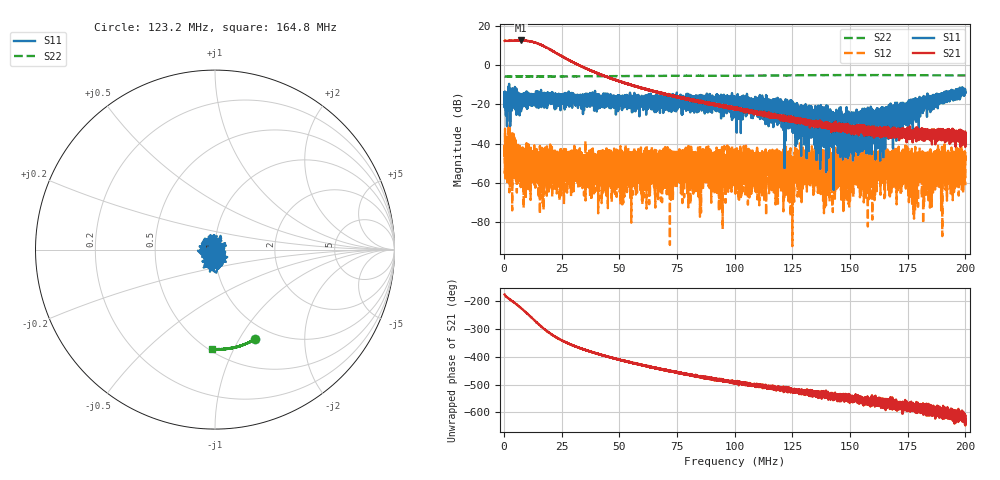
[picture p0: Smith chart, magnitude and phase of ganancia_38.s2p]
# Hz S DB R 50
! CMT, M5065, 19127446, 24.2.4/2
! Date: 11/8/2024 4:07:27 PM
! Data: Format (Calibration Info)
! Freq	S11:dB/Ang(F2)	S21:dB/Ang(F2)	S12:dB/Ang(F2)	S22:dB/Ang(F2)
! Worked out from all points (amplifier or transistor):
!   9000 points, 300 kHz to 200 MHz, reference 50 ohm
!   highest |S21| = 12.5 dB at 7.202 MHz (marker M1)
!   |S21| within 3 dB of that: start of sweep to 17.4 MHz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
!   unconditionally stable (mu >= 1): start of sweep to end of sweep
!   at 33.59 MHz: K = 66.58, MAG = 0.7 dB, |S12| = -44.6 dB
!   at 100.2 MHz: K = 5252.24, MAG = -20.4 dB, |S12| = -61.6 dB
!   at 200 MHz: K = 22067.28, MAG = -33.4 dB, |S12| = -61.2 dB
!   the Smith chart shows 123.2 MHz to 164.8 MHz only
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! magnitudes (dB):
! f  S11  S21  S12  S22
! 300 kHz  -13.9  12.3  -45.7  -5.8
! 7.202 MHz  -19.2  12.5  -54.2  -5.8
! 16.52 MHz  -17.7  10.0  -51.7  -5.8
! 33.59 MHz  -19.4  -0.7  -44.6  -5.7
! 60.02 MHz  -18.9  -11.6  -50.9  -5.6
! 66.87 MHz  -20.1  -13.8  -50.8  -5.5
! 100.2 MHz  -20.1  -21.9  -61.6  -5.4
! 112.8 MHz  -19.3  -23.8  -51.7  -5.4
! 114.8 MHz  -20.6  -25.0  -48.3  -5.3
! 124.9 MHz  -30.7  -26.8  -48.6  -5.2
! 126.8 MHz  -20.4  -27.9  -51.0  -5.2
! 133.4 MHz  -25.9  -29.5  -41.4  -5.2
! 153.6 MHz  -39.4  -31.6  -56.1  -5.1
! 155.7 MHz  -25.6  -30.6  -54.8  -5.1
! 157.9 MHz  -39.7  -33.1  -48.1  -5.1
! 166.7 MHz  -24.6  -36.0  -55.5  -5.1
! 174.2 MHz  -21.1  -34.4  -62.5  -5.2
! 177.9 MHz  -17.3  -34.3  -52.1  -5.2
! 180.6 MHz  -19.2  -34.7  -48.9  -5.2
! 185 MHz  -16.9  -35.3  -57.3  -5.2
! 198.8 MHz  -12.4  -36.0  -53.2  -5.3
! 200 MHz  -14.1  -35.1  -61.2  -5.3
